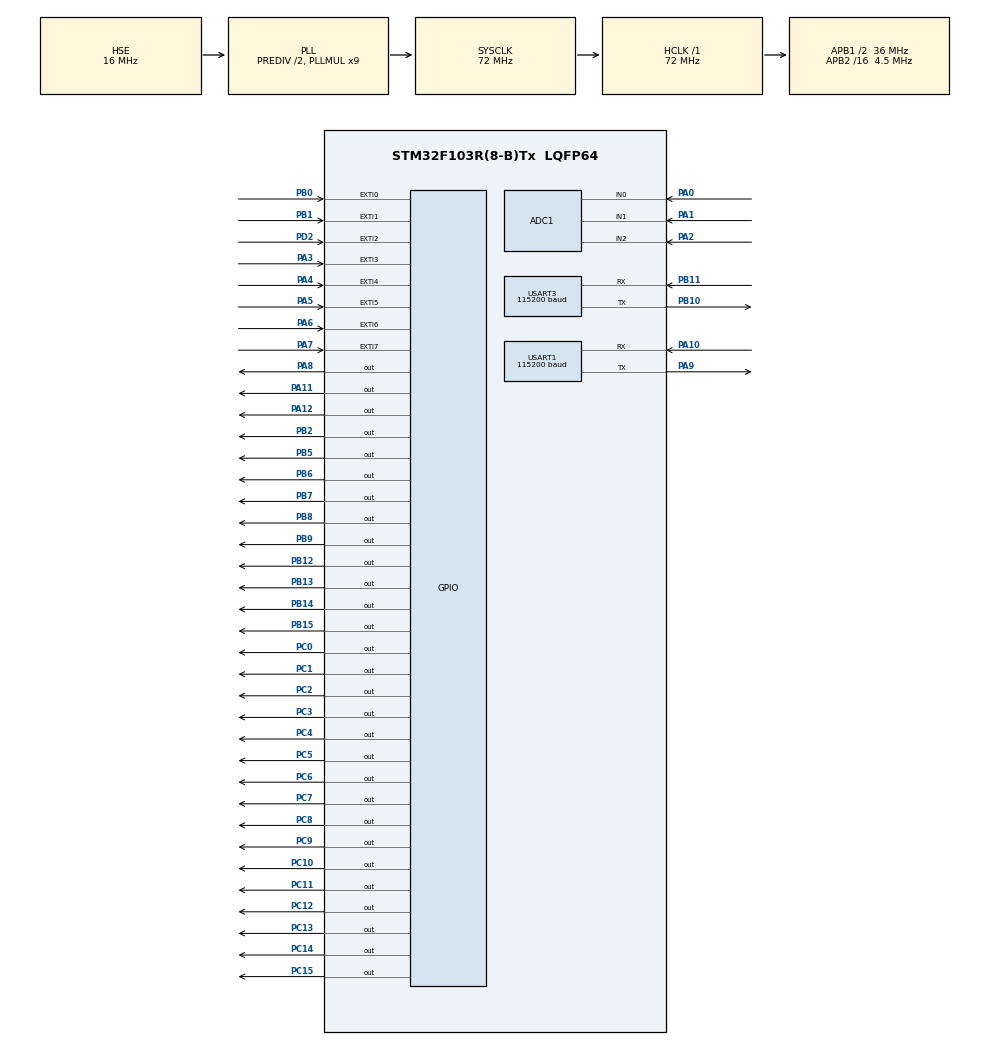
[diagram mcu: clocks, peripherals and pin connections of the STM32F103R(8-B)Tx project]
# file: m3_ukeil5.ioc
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Mcu.Family=STM32F1
NVIC.USART3_IRQn=true\:0\:0\:false\:false\:true\:true\:true
NVIC.ADC1_2_IRQn=true\:0\:0\:false\:false\:true\:true\:true
PB10.Mode=Asynchronous
ADC1.ContinuousConvMode=ENABLE
USART1.BaudRate=115200
SH.ADCx_IN2.0=ADC1_IN2,IN2
PC10.Signal=GPIO_Output
PC12.Signal=GPIO_Output
NVIC.EXTI3_IRQn=true\:0\:0\:false\:false\:true\:true\:true
PB11.Signal=USART3_RX
PB13.Signal=GPIO_Output
PB15.Signal=GPIO_Output
RCC.SYSCLKSource=RCC_SYSCLKSOURCE_PLLCLK
ProjectManager.StackSize=0x400
PD1-OSC_OUT.Signal=RCC_OSC_OUT
NVIC.EXTI1_IRQn=true\:0\:0\:false\:false\:true\:true\:true
PA12.Signal=GPIO_Output
TIM1.Prescaler=36000-1
USART3.BaudRate=115200
RCC.HCLKFreq_Value=72000000
RCC.APB2TimFreq_Value=9000000
TIM3.Period=1000-1
PB1.GPIO_ModeDefaultEXTI=GPIO_MODE_IT_RISING
PB6.Signal=GPIO_Output
PC7.Signal=GPIO_Output
PB5.PinState=GPIO_PIN_SET
PC3.Signal=GPIO_Output
RCC.AHBFreq_Value=72000000
RCC.HSE_VALUE=16000000
PB3.Mode=JTAG_5_pins
PB2.Signal=GPIO_Output
PA15.Mode=JTAG_5_pins
RCC.PLLMUL=RCC_PLL_MUL9
PB0.GPIO_ModeDefaultEXTI=GPIO_MODE_IT_RISING
PB4.Mode=JTAG_5_pins
PA14.Mode=JTAG_5_pins
TIM3.Prescaler=72-1
PB8.PinState=GPIO_PIN_SET
PB7.Signal=GPIO_Output
PA8.Signal=GPIO_Output
SH.ADCx_IN0.0=ADC1_IN0,IN0
ADC1.Channel-15\#ChannelRegularConversion=ADC_CHANNEL_0
VP_TIM1_VS_ClockSourceINT.Mode=Internal
PB7.PinState=GPIO_PIN_SET
ADC1.Rank-15\#ChannelRegularConversion=1
Mcu.Package=LQFP64
PB9.Signal=GPIO_Output
PB1.Signal=GPXTI1
PA6.Signal=GPXTI6
PA10.Signal=USART1_RX
PA15.Signal=SYS_JTDI
RCC.APB2CLKDivider=RCC_HCLK_DIV16
SH.ADCx_IN1.0=ADC1_IN1,IN1
ADC1.SamplingTime-15\#ChannelRegularConversion=ADC_SAMPLETIME_55CYCLES_5
NVIC.EXTI2_IRQn=true\:0\:0\:false\:false\:true\:true\:true
RCC.APB1TimFreq_Value=72000000
PC5.Signal=GPIO_Output
TIM1.Period=800
NVIC.USART1_IRQn=true\:0\:0\:false\:false\:true\:true\:true
PC0.PinState=GPIO_PIN_RESET
VP_TIM3_VS_ClockSourceINT.Mode=Internal
PB4.Signal=SYS_NJTRST
PA3.Signal=GPXTI3
RCC.PLLSourceVirtual=RCC_PLLSOURCE_HSE
NVIC.EXTI4_IRQn=true\:0\:0\:false\:false\:true\:true\:true
PA5.GPIO_ModeDefaultEXTI=GPIO_MODE_IT_RISING
PA6.GPIO_ModeDefaultEXTI=GPIO_MODE_IT_RISING
PD1-OSC_OUT.Mode=HSE-External-Oscillator
PA10.Mode=Asynchronous
ADC1.SamplingTime-16\#ChannelRegularConversion=ADC_SAMPLETIME_55CYCLES_5
PC11.Signal=GPIO_Output
ADC1.Rank-18\#ChannelRegularConversion=3
PA7.GPIO_ModeDefaultEXTI=GPIO_MODE_IT_RISING
PC8.Signal=GPIO_Output
PC2.Signal=GPIO_Output
PC4.Signal=GPIO_Output
PC6.Signal=GPIO_Output
PC13-TAMPER-RTC.Signal=GPIO_Output
PD0-OSC_IN.Signal=RCC_OSC_IN
PC0.Signal=GPIO_Output
RCC.APB1CLKDivider=RCC_HCLK_DIV2
PC14-OSC32_IN.Signal=GPIO_Output
PA0-WKUP.Signal=ADCx_IN0
PA3.GPIO_ModeDefaultEXTI=GPIO_MODE_IT_RISING
RCC.ADCPresc=RCC_ADCPCLK2_DIV8
PA13.Signal=SYS_JTMS-SWDIO
PA9.Mode=Asynchronous
PB11.Mode=Asynchronous
ProjectManager.TargetToolchain=STM32CubeIDE
ADC1.Channel-18\#ChannelRegularConversion=ADC_CHANNEL_0
PA9.Signal=USART1_TX
PA4.GPIO_ModeDefaultEXTI=GPIO_MODE_IT_RISING
RCC.USBFreq_Value=72000000
PC15-OSC32_OUT.Signal=GPIO_Output
PA1.Signal=ADCx_IN1
PD0-OSC_IN.Mode=HSE-External-Oscillator
PB10.Signal=USART3_TX
PB14.Signal=GPIO_Output
PA5.Signal=GPXTI5
board=custom
NVIC.TIM3_IRQn=true\:0\:0\:false\:false\:true\:true\:true
TIM1.TIM_MasterOutputTrigger=TIM_TRGO_UPDATE
RCC.APB2Freq_Value=4500000
ADC1.Channel-16\#ChannelRegularConversion=ADC_CHANNEL_0
ADC1.NbrOfConversion=3
PA13.Mode=JTAG_5_pins
Mcu.Name=STM32F103R(8-B)Tx
PA2.Signal=ADCx_IN2
ADC1.ExternalTrigConv=ADC_EXTERNALTRIGCONV_T1_CC1
NVIC.TIM1_CC_IRQn=true\:0\:0\:false\:false\:true\:true\:true
PB3.Signal=SYS_JTDO-TRACESWO
NVIC.EXTI0_IRQn=true\:0\:0\:false\:false\:true\:true\:true
PA4.Signal=GPXTI4
RCC.SYSCLKFreq_VALUE=72000000
ADC1.Rank-16\#ChannelRegularConversion=2
PB5.Signal=GPIO_Output
ADC1.master=1
USART3.VirtualMode=VM_ASYNC
RCC.HSEDivPLL=RCC_HSE_PREDIV_DIV2
TIM3.TIM_MasterSlaveMode=TIM_MASTERSLAVEMODE_ENABLE
USART1.VirtualMode=VM_ASYNC
PB6.PinState=GPIO_PIN_SET
PB9.PinState=GPIO_PIN_RESET
PA11.Signal=GPIO_Output
NVIC.EXTI9_5_IRQn=true\:0\:0\:false\:false\:true\:true\:true
PA14.Signal=SYS_JTCK-SWCLK
ProjectManager.HeapSize=0x200
NVIC.PriorityGroup=NVIC_PRIORITYGROUP_4
ADC1.NbrOfConversionFlag=1
PB8.Signal=GPIO_Output
PC9.Signal=GPIO_Output
TIM3.TIM_MasterOutputTrigger=TIM_TRGO_UPDATE
PD2.Signal=GPXTI2
RCC.APB1Freq_Value=36000000
PB0.Signal=GPXTI0
ADC1.SamplingTime-18\#ChannelRegularConversion=ADC_SAMPLETIME_55CYCLES_5
PC1.Signal=GPIO_Output
PB12.Signal=GPIO_Output
TIM1.TIM_MasterSlaveMode=TIM_MASTERSLAVEMODE_ENABLE
PA7.Signal=GPXTI7

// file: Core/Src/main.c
/* USER CODE BEGIN Header */
/**
  ******************************************************************************
  * @file           : main.c
  * @brief          : Main program body
  ******************************************************************************
  * @attention
  *
  * <h2><center>&copy; Copyright (c) 2021 STMicroelectronics.
  * All rights reserved.</center></h2>
  *
  * This software component is licensed by ST under BSD 3-Clause license,
  * the "License"; You may not use this file except in compliance with the
  * License. You may obtain a copy of the License at:
  *                        opensource.org/licenses/BSD-3-Clause
  *
  ******************************************************************************
  */
/* USER CODE END Header */

#include "main.h"
/* USER CODE BEGIN Includes */
#include "math.h"
#include "stdio.h"
#include "string.h"
#include "stdlib.h"
#include "stdbool.h"
#include "dwt_stm32_delay.h"
#include "EMG10K.h"
//#include "Flash.h"

/* USER CODE END Includes */

/* USER CODE END PD */

ADC_HandleTypeDef hadc1;

TIM_HandleTypeDef htim1;
TIM_HandleTypeDef htim3;

UART_HandleTypeDef huart1;
UART_HandleTypeDef huart3;

/* USER CODE BEGIN PV */
extern uint8_t rxtemp;

extern uint8_t RUN_ACTIVE_NUM;
extern uint8_t init_run_data[64];

extern bool send_count;
extern bool sendvalue;

extern uint8_t send_cnt;
extern uint8_t data_strem[1004];

extern uint8_t rx_data[256],rx_data_[256],run_data[256], rx_data_tmp[256];
extern uint8_t txbuff[100];
extern uint8_t txbuff_SEND[1024];

extern uint32_t SOL_SELECT;

extern uint32_t filtereadValue, sensorValue;
extern uint32_t msTimer;
extern uint32_t timerCnt;
extern uint32_t Grade_speed;
extern uint32_t interuptCnt, startTime , endTime;

extern uint8_t RearLine [REAR_COUNT];
extern uint8_t Rear_Count;

extern uint8_t RearLine_Prt [REAR_COUNT];
extern uint8_t Rear_Count_Prt;

extern uint8_t GRADE_PACKER_SELECT_DOUBLE;
extern uint8_t PACKER_SOL_SELECT_DOUBLE[MAX_PACKER_SOL];

extern uint8_t G_PACKER_CNT[MAX_GRADE];
extern uint8_t P_SOL_CNT[MAX_PACKER];
extern uint8_t GRADE_PACKER[MAX_PACKER][MAX_PACKER];

/* USER CODE END PV */

void SystemClock_Config(void);
static void MX_GPIO_Init(void);
static void MX_USART3_UART_Init(void);
static void MX_ADC1_Init(void);
static void MX_USART1_UART_Init(void);
static void MX_TIM1_Init(void);
static void MX_TIM3_Init(void);

/* USER CODE BEGIN 0 */
void BUZZER_ON_OFF();
void FLASH_UPDATE(uint8_t select);
void HAL_GPIO_EXTI_Callback(uint16_t GPIO_Pin);

void SOL_RUN_SELECTE(uint8_t selcte1);
void SOL_RUN_(uint8_t selcte1);
void SOL_RUN_OFF();
void SOL_RUN();
void SOL_TEST_RUN();

unsigned int LOADCELL_ZERO(void);
float LOADCELL_SPAN(unsigned int ZERO);
float LOADCELL_WEIGHT(unsigned int ZERO, float SPAN);

/* ------------------Loadcell params--------------*/
extern unsigned int avg;
extern unsigned int avg_real;
extern unsigned int avg_volt;
extern float avg_float;
extern unsigned int time_count;
/* ---------------------END-----------------------*/

/* ------------------------------LoadCell Params--------------------------------  */

/* ---------------------END-----------------------  */

/* USER CODE END 0 */

int main(void)
{
  /* USER CODE BEGIN 1 */
	 uint32_t ReceiveDATA, TX_DATA = 0;//, RX_DATA = 0;
  /* USER CODE END 1 */

  /* MCU Configuration--------------------------------------------------------*/

  /* Reset of all peripherals, Initializes the Flash interface and the Systick. */
  HAL_Init();

  /* Configure the system clock */
  SystemClock_Config();

  /* Initialize all configured peripherals */
  MX_GPIO_Init();
  MX_USART3_UART_Init();
  MX_ADC1_Init();
  MX_USART1_UART_Init();
  MX_TIM1_Init();
  MX_TIM3_Init();

  DWT_Delay_Init();

  /* USER CODE BEGIN 2 */
  HAL_TIM_OC_Start_IT(&htim3,TIM_CHANNEL_1);
  HAL_ADC_Start(&hadc1);
  HAL_NVIC_EnableIRQ(USART1_IRQn);
  __HAL_UART_ENABLE_IT(&huart1,UART_IT_RXNE);

  for(int jcnt=0;jcnt<40;jcnt++)
  	{
  				if((jcnt%2)==0)
  				{
  					 HAL_GPIO_WritePin(GPIOB, GPIO_PIN_5, GPIO_PIN_RESET); HAL_Delay(50);
  					 HAL_GPIO_WritePin(GPIOB, GPIO_PIN_6, GPIO_PIN_RESET); HAL_Delay(50);
  					 HAL_GPIO_WritePin(GPIOB, GPIO_PIN_7, GPIO_PIN_RESET); HAL_Delay(50);
  				}
  				else
  				{
  					 HAL_GPIO_WritePin(GPIOB, GPIO_PIN_5, GPIO_PIN_SET); HAL_Delay(50);
  					 HAL_GPIO_WritePin(GPIOB, GPIO_PIN_6, GPIO_PIN_SET); HAL_Delay(50);
  					 HAL_GPIO_WritePin(GPIOB, GPIO_PIN_7, GPIO_PIN_SET); HAL_Delay(50);
  				}
  	}
  	BUZZER_ON_OFF();
  	BUZZER_ON_OFF();

	memcpy(&GRADE_INFO ,GRADE_INFO_START  ,sizeof(GRADE_INFO));
	memcpy(&PACKER_INFO ,PACKER_INFO_START  ,sizeof(PACKER_INFO));
	memcpy(&MARKING_INFO  ,MARKING_INFO_START  ,sizeof(MARKING_INFO));
	memcpy(&SOL_RUN_TIME_INFO  ,SOL_RUN_TIME_INFO_START  ,sizeof(SOL_RUN_TIME_INFO));
	memcpy(&MEASUREMENT_INFO ,MEASUREMENT_INFO_START ,sizeof(MEASUREMENT_INFO));
	memcpy(&LOADCELL_INFO  ,LOADCELL_INFO_START   ,sizeof(LOADCELL_INFO));

	HAL_GPIO_WritePin(GPIOB, GPIO_PIN_5, GPIO_PIN_RESET);

	uint8_t k;
	k = 0;

	for(int i = 0; i < MAX_GRADE-1;i++)
	{
		P_SOL_CNT[i]=PACKER_INFO[i].SOL_COUNT;
		for(int j = 0; j < MAX_PACKER; j++ )
		{
			if(GRADE_INFO[i].PACKER_NUMBER[j]==1)
			{
				GRADE_PACKER[i][k++] = j;
			}
		}
		for(int j = 0; j < MAX_PACKER - GRADE_INFO[i].PACKER_COUNT; j++ )
		{
				GRADE_PACKER[i][k++] = 0;
		}
		k=0;
	}

	if (HAL_GPIO_ReadPin(GPIOA, GPIO_PIN_7) == 1)  //AUTO 모드로 수정
	{
		RUN_ACTIVE_NUM = RUN_ACTIVE;
		HAL_GPIO_WritePin(GPIOB, GPIO_PIN_6, GPIO_PIN_RESET);
	}
	 //uint8_t size = 0;

	 uint32_t tmp;

	 RUN_ACTIVE_NUM = RUN_ACTIVE;
  /* USER CODE END 2 */

  /* Infinite loop */
  while (1)
  {
		/*---------------MODE SECTION------------------------*/
	 	switch (run_data[0])
		{
/*---------------READ SECTION START--------------------------*/
			case READ :
				switch (run_data[1])
				{
					case GRADE_INFO_:	 /* GRADE_INFO_ VALUE SEND*/
						RUN_ACTIVE_NUM = GRADE_INFO_;
						txbuff_SEND[STX_NUM] = STX;
						TX_DATA = LEN_NUM;
					  TX_DATA++;
						for(int j = 0; j < MAX_GRADE; j++)
						{
							txbuff_SEND[TX_DATA++] = (uint8_t)(*((uint32_t*)&GRADE_INFO[j].HILIMIT ) >> 24);
							txbuff_SEND[TX_DATA++] = (uint8_t)(*((uint32_t*)&GRADE_INFO[j].HILIMIT ) >> 16);
							txbuff_SEND[TX_DATA++] = (uint8_t)(*((uint32_t*)&GRADE_INFO[j].HILIMIT ) >> 8);
							txbuff_SEND[TX_DATA++] = (uint8_t)(*((uint32_t*)&GRADE_INFO[j].HILIMIT ));

							txbuff_SEND[TX_DATA++] = (uint8_t)(*((uint32_t*)&GRADE_INFO[j].LOLIMIT ) >> 24);
							txbuff_SEND[TX_DATA++] = (uint8_t)(*((uint32_t*)&GRADE_INFO[j].LOLIMIT ) >> 16);
							txbuff_SEND[TX_DATA++] = (uint8_t)(*((uint32_t*)&GRADE_INFO[j].LOLIMIT ) >> 8);
							txbuff_SEND[TX_DATA++] = (uint8_t)(*((uint32_t*)&GRADE_INFO[j].LOLIMIT ));

						    txbuff_SEND[TX_DATA++] = (uint8_t)(*((uint32_t*)&GRADE_INFO[j].PRT_COUNT ) >> 24);
							txbuff_SEND[TX_DATA++] = (uint8_t)(*((uint32_t*)&GRADE_INFO[j].PRT_COUNT ) >> 16);
							txbuff_SEND[TX_DATA++] = (uint8_t)(*((uint32_t*)&GRADE_INFO[j].PRT_COUNT ) >> 8);
							txbuff_SEND[TX_DATA++] = (uint8_t)(*((uint32_t*)&GRADE_INFO[j].PRT_COUNT ));
							txbuff_SEND[TX_DATA++] = GRADE_INFO[j].PRT_USED;

							txbuff_SEND[TX_DATA++] = GRADE_INFO[j].PACKER_COUNT;
							for(int k = 0; k < MAX_PACKER; k++)
							{
								txbuff_SEND[TX_DATA++] = GRADE_INFO[j].PACKER_NUMBER[k];
							}

						}
						for(int k = 0; k < MAX_PACKER; k++)
						{
								txbuff_SEND[TX_DATA++] = PACKER_INFO[k].SOL_COUNT;
						}

						txbuff_SEND[LEN_NUM] = TX_DATA-2;
						txbuff_SEND[TX_DATA++] = ETX;
						HAL_UART_Transmit(&huart1,txbuff_SEND,TX_DATA,50);
						BUZZER_ON_OFF();
						memcpy(run_data,init_run_data,sizeof(init_run_data));
						break;

					case PACKER_INFO_:	   /* PACKER_INFO_ VALUE SEND*/
						RUN_ACTIVE_NUM = PACKER_INFO_;
						txbuff_SEND[STX_NUM] = STX;
						TX_DATA = LEN_NUM;
					  TX_DATA++;
						for(int j = 0; j < MAX_PACKER; j++)
						{
								txbuff_SEND[TX_DATA++] = PACKER_INFO[j].SOL_COUNT;
								for(int k = 0; k < MAX_PACKER_SOL; k++)
								{
									txbuff_SEND[TX_DATA++]=PACKER_INFO[j].SOL_NUMBER[k];
								}
								for(int k = 0; k < MAX_PACKER_SOL; k++)
								{
									txbuff_SEND[TX_DATA++]=PACKER_INFO[j].SOL_CONNECT[k];
								}
						}
						txbuff_SEND[TX_DATA++]=MARKING_INFO.MARKING_1_BURKET_NUM;
						txbuff_SEND[TX_DATA++]=MARKING_INFO.MARKING_1_CONNECT;
						txbuff_SEND[TX_DATA++]=MARKING_INFO.MARKING_2_BURKET_NUM;
						txbuff_SEND[TX_DATA++]=MARKING_INFO.MARKING_2_CONNECT;
						txbuff_SEND[TX_DATA++]=SOL_RUN_TIME_INFO.SOL_ON_TIME_;
						txbuff_SEND[TX_DATA++]=SOL_RUN_TIME_INFO.SOL_OFF_TIME_;

						txbuff_SEND[LEN_NUM] = TX_DATA-2;
						txbuff_SEND[TX_DATA++] = ETX;

						HAL_UART_Transmit(&huart1,txbuff_SEND,TX_DATA,50);
						BUZZER_ON_OFF();
						memcpy(run_data,init_run_data,sizeof(init_run_data));
						break;

					case MEASUREMENT_INFO_:	 /* MEASUREMENT_INFO_ VALUE SEND*/
						RUN_ACTIVE_NUM = MEASUREMENT_INFO_;
						txbuff_SEND[STX_NUM] = STX;
						TX_DATA = LEN_NUM;
						TX_DATA++;
					  txbuff_SEND[TX_DATA++] = MEASUREMENT_INFO.START_TIME;
					  txbuff_SEND[TX_DATA++] = MEASUREMENT_INFO.END_TIME;
						txbuff_SEND[LEN_NUM] = TX_DATA-2;
						txbuff_SEND[TX_DATA++] = ETX;
						HAL_UART_Transmit(&huart1,txbuff_SEND,TX_DATA,50);
						BUZZER_ON_OFF();
						memcpy(run_data,init_run_data,sizeof(init_run_data));
						break;

					case LOADCELL_INFO_:	  /* INIT_CONFIG VALUE SEND*/
						RUN_ACTIVE_NUM = LOADCELL_INFO_;
					  avg_float = LOADCELL_WEIGHT(LOADCELL_INFO.OFFSET,LOADCELL_INFO.SPAN);
					  BUZZER_ON_OFF();
						txbuff_SEND[STX_NUM] = STX;
						TX_DATA = LEN_NUM;
					  TX_DATA++;
					    txbuff_SEND[TX_DATA++] = (uint8_t)(*((uint32_t*)&avg_float ) >> 24);
						txbuff_SEND[TX_DATA++] = (uint8_t)(*((uint32_t*)&avg_float ) >> 16);
						txbuff_SEND[TX_DATA++] = (uint8_t)(*((uint32_t*)&avg_float ) >> 8);
						txbuff_SEND[TX_DATA++] = (uint8_t)(*((uint32_t*)&avg_float ));
					    txbuff_SEND[TX_DATA++] = (uint8_t)(*((uint32_t*)&LOADCELL_INFO.OFFSET ) >> 24);
						txbuff_SEND[TX_DATA++] = (uint8_t)(*((uint32_t*)&LOADCELL_INFO.OFFSET ) >> 16);
						txbuff_SEND[TX_DATA++] = (uint8_t)(*((uint32_t*)&LOADCELL_INFO.OFFSET ) >> 8);
						txbuff_SEND[TX_DATA++] = (uint8_t)(*((uint32_t*)&LOADCELL_INFO.OFFSET ));
					    txbuff_SEND[TX_DATA++] = (uint8_t)(*((uint32_t*)&LOADCELL_INFO.SPAN ) >> 24);
						txbuff_SEND[TX_DATA++] = (uint8_t)(*((uint32_t*)&LOADCELL_INFO.SPAN ) >> 16);
						txbuff_SEND[TX_DATA++] = (uint8_t)(*((uint32_t*)&LOADCELL_INFO.SPAN ) >> 8);
						txbuff_SEND[TX_DATA++] = (uint8_t)(*((uint32_t*)&LOADCELL_INFO.SPAN ));
					    txbuff_SEND[TX_DATA++] = (uint8_t)(*((uint32_t*)&LOADCELL_INFO.MOVING_AVRAGE ) >> 24);
						txbuff_SEND[TX_DATA++] = (uint8_t)(*((uint32_t*)&LOADCELL_INFO.MOVING_AVRAGE ) >> 16);
						txbuff_SEND[TX_DATA++] = (uint8_t)(*((uint32_t*)&LOADCELL_INFO.MOVING_AVRAGE ) >> 8);
						txbuff_SEND[TX_DATA++] = (uint8_t)(*((uint32_t*)&LOADCELL_INFO.MOVING_AVRAGE ));
						txbuff_SEND[LEN_NUM] = TX_DATA-2;
						txbuff_SEND[TX_DATA++] = ETX;
						HAL_UART_Transmit(&huart1,txbuff_SEND,TX_DATA,50);
						BUZZER_ON_OFF();
						memcpy(run_data,init_run_data,sizeof(init_run_data));
						break;

					case ALL_INFO_:	  /* INIT_CONFIG VALUE SEND*/
						RUN_ACTIVE_NUM = ALL_INFO_;
						BUZZER_ON_OFF();
						BUZZER_ON_OFF();
						memcpy(run_data,init_run_data,sizeof(init_run_data));
						break;
					case COM_CHK_:	  /* INIT_CONFIG VALUE SEND*/
						RUN_ACTIVE_NUM = ALL_INFO_;
						BUZZER_ON_OFF();
					  txbuff_SEND[STX_NUM] = STX;
						TX_DATA = LEN_NUM;
					  TX_DATA++;
          txbuff_SEND[TX_DATA++] = 51;
						txbuff_SEND[LEN_NUM] = TX_DATA-2;
						txbuff_SEND[TX_DATA++] = ETX;
						HAL_UART_Transmit(&huart1,txbuff_SEND,TX_DATA,50);
						BUZZER_ON_OFF();
						memcpy(run_data,init_run_data,sizeof(init_run_data));
						break;
				}
			break;
/*---------------READ SECTION END--------------------------*/

/*---------------SET START--------------------------*/
			case WRITE : // WRITE
				switch (run_data[1])
				{
					case GRADE_INFO_:
							RUN_ACTIVE_NUM = GRADE_INFO_;
					    BUZZER_ON_OFF();
							ReceiveDATA = 2;

							for (int i = 0; i < MAX_GRADE; i++)
							{
								tmp  =   run_data[ReceiveDATA++];
								tmp +=   ((run_data[ReceiveDATA++]&0xFF)<<8);
								tmp +=   ((run_data[ReceiveDATA++]&0xFF)<<16);
								tmp +=   ((run_data[ReceiveDATA++]&0xFF)<<24);
								GRADE_INFO[i].HILIMIT = *((float*)&tmp);
								GRADE_INFO[i].HILIMIT = ceil(GRADE_INFO[i].HILIMIT*10)/10;

								tmp  =   run_data[ReceiveDATA++];
								tmp +=   ((run_data[ReceiveDATA++]&0xFF)<<8);
								tmp +=   ((run_data[ReceiveDATA++]&0xFF)<<16);
								tmp +=   ((run_data[ReceiveDATA++]&0xFF)<<24);
								GRADE_INFO[i].LOLIMIT = *((float*)&tmp);
							    GRADE_INFO[i].LOLIMIT = ceil(GRADE_INFO[i].LOLIMIT*10)/10;
								GRADE_INFO[i].PRT_COUNT = 0;
              GRADE_INFO[i].PRT_COUNT =    (((uint32_t)run_data[ReceiveDATA++] & 0xFF));
								GRADE_INFO[i].PRT_COUNT +=   (((uint32_t)run_data[ReceiveDATA++] & 0xFF) << 8);
								GRADE_INFO[i].PRT_COUNT +=   (((uint32_t)run_data[ReceiveDATA++] & 0xFF) << 16);
								GRADE_INFO[i].PRT_COUNT +=   (((uint32_t)run_data[ReceiveDATA++] & 0xFF) << 24);
								if(GRADE_INFO[i].PRT_COUNT != 0)
								{
									GRADE_INFO[i].PRT_COUNT = GRADE_INFO[i].PRT_COUNT+2;
								}
								GRADE_INFO[i].PRT_USED = run_data[ReceiveDATA++];

								GRADE_INFO[i].PACKER_COUNT = run_data[ReceiveDATA++];
								for(int j = 0 ; j < MAX_PACKER; j++)
								{
									GRADE_INFO[i].PACKER_NUMBER[j] = run_data[ReceiveDATA++];
								}
							}
							for(int j = 0 ; j < MAX_PACKER; j++)
							{
									PACKER_INFO[j].SOL_COUNT = run_data[ReceiveDATA++];
							}
							FLASH_UPDATE(GRADE_INFO_DATA);
							FLASH_UPDATE(PACKER_INFO_DATA);
							k = 0;
							for(int i = 0; i < MAX_PACKER; i++)
							{
								for(int j = 0; j < MAX_PACKER; j++ )
								{
									if(GRADE_INFO[i].PACKER_NUMBER[j]==1)
									{
										GRADE_PACKER[i][k++] = j;
									}
								}
								for(int j = 0; j < MAX_PACKER - GRADE_INFO[i].PACKER_COUNT; j++ )
								{
										GRADE_PACKER[i][k++] = 0;
								}
								k=0;
							}
							memset(G_PACKER_CNT,0,MAX_PACKER);
							memcpy(run_data,init_run_data,sizeof(init_run_data));
						break;

					case PACKER_INFO_:
							RUN_ACTIVE_NUM = PACKER_INFO_;
							BUZZER_ON_OFF();
							ReceiveDATA = 2;
							for (int i = 0; i <MAX_PACKER; i++)
							{
								PACKER_INFO[i].SOL_COUNT = run_data[ReceiveDATA++];

								for(int j = 0 ; j < MAX_PACKER_SOL; j++)
								{
									PACKER_INFO[i].SOL_NUMBER[j] = run_data[ReceiveDATA++];
								}
								for(int j = 0 ; j < MAX_PACKER_SOL; j++)
								{
									PACKER_INFO[i].SOL_CONNECT[j] = run_data[ReceiveDATA++];
								}
							}
							MARKING_INFO.MARKING_1_BURKET_NUM = run_data[ReceiveDATA++];
							MARKING_INFO.MARKING_1_CONNECT = run_data[ReceiveDATA++];
							MARKING_INFO.MARKING_2_BURKET_NUM = run_data[ReceiveDATA++];
							MARKING_INFO.MARKING_2_CONNECT = run_data[ReceiveDATA++];

							SOL_RUN_TIME_INFO.SOL_ON_TIME_ = run_data[ReceiveDATA++];
							SOL_RUN_TIME_INFO.SOL_OFF_TIME_ = run_data[ReceiveDATA++];

							FLASH_UPDATE(PACKER_INFO_DATA);
							FLASH_UPDATE(MARKING_INFO_DATA);
							FLASH_UPDATE(SOL_RUN_TIME_INFO_DATA);
							for(int i = 0; i < MAX_PACKER; i++)
							{
								P_SOL_CNT[i]=PACKER_INFO[i].SOL_COUNT;
							}
							memcpy(run_data,init_run_data,sizeof(init_run_data));
						break;

					case MEASUREMENT_INFO_: /* LOADCELL_CONFIG VALUE MEMORY SAVE [DELAY TIME/END TIME]*/
							RUN_ACTIVE_NUM = MEASUREMENT_INFO_;
							BUZZER_ON_OFF();
							ReceiveDATA = 2;
							MEASUREMENT_INFO.START_TIME = run_data[ReceiveDATA++];
							MEASUREMENT_INFO.END_TIME =  run_data[ReceiveDATA++];
							FLASH_UPDATE(MEASUREMENT_INFO_DATA);
							BUZZER_ON_OFF();
							memcpy(run_data,init_run_data,sizeof(init_run_data));
						break;

					case INIT_DATA_SET_:   /* INIT_DATA*/
						RUN_ACTIVE_NUM = INIT_DATA_SET_;
							for(int i; i < MAX_GRADE; i++)
							{
									GRADE_DATA.gNumber[i] = 0;
									GRADE_DATA.gWeight[i] = 0;
									GRADE_DATA.pNumber[i] = 0;
							}
							GRADE_DATA.gTNumber = 0;
							GRADE_DATA.gTWeight = 0;
							GRADE_DATA.gPCount = 0;
							GRADE_DATA.gRCount = 0;

							HAL_GPIO_WritePin(GPIOB, GPIO_PIN_9, GPIO_PIN_SET); HAL_Delay(100);
							HAL_GPIO_WritePin(GPIOB, GPIO_PIN_9, GPIO_PIN_RESET); HAL_Delay(100);
							memcpy(run_data,init_run_data,sizeof(init_run_data));
						break;
				}
			break;
/*---------------WRITE SECTION END--------------------------*/

/*---------------RUN ACTIVE SECTION START--------------------------*/
			case ACTIVE :
				switch (run_data[1])
				{
					case RUN_ACTIVE:	/* RUN_ACTIVE START*/
						RUN_ACTIVE_NUM = RUN_ACTIVE;
						BUZZER_ON_OFF();
					  memcpy(run_data,init_run_data,sizeof(init_run_data));
					break;

					case NORUN_ACTIVE:	/* RUN_ACTIVE STOP */
						RUN_ACTIVE_NUM = NORUN_ACTIVE;
						BUZZER_ON_OFF();
					  memcpy(run_data,init_run_data,sizeof(init_run_data));
					break;
				}
			break;
/*---------------RUN ACTIVE SECTION END--------------------------*/

/*---------------MEASUREMENT SECTION START--------------------------*/
			case MEASUREMENT :
				switch (run_data[1])
				{
					case LOADCELL_INFO_ZERO_: 	/* LOADCELL_ZERO_MEASUREMENT START*/
						RUN_ACTIVE_NUM = LOADCELL_INFO_ZERO_;
						for(int i =0; i<5;i++)
						{
							LOADCELL_INFO.OFFSET=LOADCELL_ZERO();
						}
						BUZZER_ON_OFF();
						txbuff[0] = 0x02;
						txbuff[1] = sizeof(LOADCELL_INFO.OFFSET);
						txbuff[2] = (uint8_t)(*((uint32_t*)&LOADCELL_INFO.OFFSET ) >> 24);
						txbuff[3] = (uint8_t)(*((uint32_t*)&LOADCELL_INFO.OFFSET ) >> 16);
						txbuff[4] = (uint8_t)(*((uint32_t*)&LOADCELL_INFO.OFFSET ) >> 8);
						txbuff[5] = (uint8_t)(*((uint32_t*)&LOADCELL_INFO.OFFSET ));
						txbuff[6] = 0x03;
						FLASH_UPDATE(LOADCELL_INFO_DATA);
						HAL_UART_Transmit(&huart1,txbuff,3+sizeof(LOADCELL_INFO.OFFSET),10);
						memcpy(run_data,init_run_data,sizeof(init_run_data));

						break;
					case LOADCELL_INFO_WEIGHT_: 	/* LOADCELL_WEIGHT_MEASUREMENT START */
						RUN_ACTIVE_NUM = LOADCELL_INFO_WEIGHT_;
					  for(int i =0; i<5;i++)
					  {
							LOADCELL_INFO.SPAN = LOADCELL_SPAN(LOADCELL_INFO.OFFSET);
						}
						BUZZER_ON_OFF();
						txbuff[0] = 0x02;
						txbuff[1] =  sizeof(LOADCELL_INFO.SPAN);
						txbuff[2] = (uint8_t)(*((uint32_t*)&LOADCELL_INFO.SPAN ) >> 24);
						txbuff[3] = (uint8_t)(*((uint32_t*)&LOADCELL_INFO.SPAN ) >> 16);
						txbuff[4] = (uint8_t)(*((uint32_t*)&LOADCELL_INFO.SPAN ) >> 8);
						txbuff[5] = (uint8_t)(*((uint32_t*)&LOADCELL_INFO.SPAN ));
						txbuff[6] = 0x03;
						HAL_UART_Transmit(&huart1,txbuff,3+sizeof(LOADCELL_INFO.SPAN),10);
						FLASH_UPDATE(LOADCELL_INFO_DATA);
						memcpy(run_data,init_run_data,sizeof(init_run_data));
						break;

					case MEASURE_RUN_:	/* LOADCELL_WEIGHT_MEASUREMENT START */
						RUN_ACTIVE_NUM = MEASURE_RUN_;
					    send_count = true;
					    sendvalue = false;
					    send_cnt =0;
						BUZZER_ON_OFF();
					    memset (data_strem, 0, sizeof(data_strem));
						memcpy(run_data,init_run_data,sizeof(init_run_data));
						break;

					case SOL_TEST_:	/* SOL_TEST START */
						RUN_ACTIVE_NUM = SOL_TEST_;
					  SOL_SELECT =run_data[2];
					  if (SOL_SELECT < 40)
						{
							SOL_RUN_(SOL_SELECT);
							memcpy(run_data,init_run_data,sizeof(init_run_data));
							SOL_SELECT = 0;
						}
						else if (SOL_SELECT == 41)
						{
							SOL_TEST_RUN();
						}
						else if (SOL_SELECT == 42)
						{
							memcpy(run_data,init_run_data,sizeof(init_run_data));
							SOL_SELECT = 0;
						}
						BUZZER_ON_OFF();
						break;
				}
/*---------------MEASUREMENT SECTION END--------------------------*/
				break;
/*----------------------MODE SECTION END--------------------------*/
			}
  }
}

void SystemClock_Config(void)
{
  RCC_OscInitTypeDef RCC_OscInitStruct = {0};
  RCC_ClkInitTypeDef RCC_ClkInitStruct = {0};
  RCC_PeriphCLKInitTypeDef PeriphClkInit = {0};

  /** Initializes the CPU, AHB and APB busses clocks
  */
  RCC_OscInitStruct.OscillatorType = RCC_OSCILLATORTYPE_HSE;
  RCC_OscInitStruct.HSEState = RCC_HSE_ON;
  RCC_OscInitStruct.HSEPredivValue = RCC_HSE_PREDIV_DIV2;
  RCC_OscInitStruct.HSIState = RCC_HSI_ON;
  RCC_OscInitStruct.PLL.PLLState = RCC_PLL_ON;
  RCC_OscInitStruct.PLL.PLLSource = RCC_PLLSOURCE_HSE;
  RCC_OscInitStruct.PLL.PLLMUL = RCC_PLL_MUL9;
  if (HAL_RCC_OscConfig(&RCC_OscInitStruct) != HAL_OK)
  {
    Error_Handler();
  }
  /** Initializes the CPU, AHB and APB busses clocks
  */
  RCC_ClkInitStruct.ClockType = RCC_CLOCKTYPE_HCLK|RCC_CLOCKTYPE_SYSCLK
                              |RCC_CLOCKTYPE_PCLK1|RCC_CLOCKTYPE_PCLK2;
  RCC_ClkInitStruct.SYSCLKSource = RCC_SYSCLKSOURCE_PLLCLK;
  RCC_ClkInitStruct.AHBCLKDivider = RCC_SYSCLK_DIV1;
  RCC_ClkInitStruct.APB1CLKDivider = RCC_HCLK_DIV2;
  RCC_ClkInitStruct.APB2CLKDivider = RCC_HCLK_DIV16;

  if (HAL_RCC_ClockConfig(&RCC_ClkInitStruct, FLASH_LATENCY_2) != HAL_OK)
  {
    Error_Handler();
  }
  PeriphClkInit.PeriphClockSelection = RCC_PERIPHCLK_ADC;
  PeriphClkInit.AdcClockSelection = RCC_ADCPCLK2_DIV8;
  if (HAL_RCCEx_PeriphCLKConfig(&PeriphClkInit) != HAL_OK)
  {
    Error_Handler();
  }
}

static void MX_ADC1_Init(void)
{

  ADC_ChannelConfTypeDef sConfig = {0};

  /** Common config
  */
  hadc1.Instance = ADC1;
  hadc1.Init.ScanConvMode = ADC_SCAN_ENABLE;
  hadc1.Init.ContinuousConvMode = ENABLE;
  hadc1.Init.DiscontinuousConvMode = DISABLE;
  //hadc1.Init.ExternalTrigConv = ADC_EXTERNALTRIGCONV_T1_CC1;
  hadc1.Init.ExternalTrigConv = ADC1_2_EXTERNALTRIG_T3_TRGO;
  hadc1.Init.DataAlign = ADC_DATAALIGN_RIGHT;
  hadc1.Init.NbrOfConversion = 3;
  if (HAL_ADC_Init(&hadc1) != HAL_OK)
  {
    Error_Handler();
  }
  /** Configure Regular Channel
  */
  sConfig.Channel = ADC_CHANNEL_0;
  sConfig.Rank = ADC_REGULAR_RANK_1;
  sConfig.SamplingTime = ADC_SAMPLETIME_55CYCLES_5;
  if (HAL_ADC_ConfigChannel(&hadc1, &sConfig) != HAL_OK)
  {
    Error_Handler();
  }
  /** Configure Regular Channel
  */
  sConfig.Rank = ADC_REGULAR_RANK_2;
  if (HAL_ADC_ConfigChannel(&hadc1, &sConfig) != HAL_OK)
  {
    Error_Handler();
  }
  /** Configure Regular Channel
  */
  sConfig.Rank = ADC_REGULAR_RANK_3;
  if (HAL_ADC_ConfigChannel(&hadc1, &sConfig) != HAL_OK)
  {
    Error_Handler();
  }

}

static void MX_TIM1_Init(void)
{

  TIM_ClockConfigTypeDef sClockSourceConfig = {0};
  TIM_MasterConfigTypeDef sMasterConfig = {0};

  htim1.Instance = TIM1;
  htim1.Init.Prescaler = 36000-1;
  htim1.Init.CounterMode = TIM_COUNTERMODE_UP;
  htim1.Init.Period = 100;
  htim1.Init.ClockDivision = TIM_CLOCKDIVISION_DIV1;
  htim1.Init.RepetitionCounter = 0;
  htim1.Init.AutoReloadPreload = TIM_AUTORELOAD_PRELOAD_DISABLE;
  if (HAL_TIM_Base_Init(&htim1) != HAL_OK)
  {
    Error_Handler();
  }
  sClockSourceConfig.ClockSource = TIM_CLOCKSOURCE_INTERNAL;
  if (HAL_TIM_ConfigClockSource(&htim1, &sClockSourceConfig) != HAL_OK)
  {
    Error_Handler();
  }
  sMasterConfig.MasterOutputTrigger = TIM_TRGO_UPDATE;
  sMasterConfig.MasterSlaveMode = TIM_MASTERSLAVEMODE_ENABLE;
  if (HAL_TIMEx_MasterConfigSynchronization(&htim1, &sMasterConfig) != HAL_OK)
  {
    Error_Handler();
  }

}

static void MX_TIM3_Init(void)
{

  TIM_ClockConfigTypeDef sClockSourceConfig = {0};
  TIM_MasterConfigTypeDef sMasterConfig = {0};

  htim3.Instance = TIM3;
  htim3.Init.Prescaler = 72-1;
  htim3.Init.CounterMode = TIM_COUNTERMODE_UP;
  htim3.Init.Period = 100-1;
  htim3.Init.ClockDivision = TIM_CLOCKDIVISION_DIV1;
  htim3.Init.AutoReloadPreload = TIM_AUTORELOAD_PRELOAD_DISABLE;
  if (HAL_TIM_Base_Init(&htim3) != HAL_OK)
  {
    Error_Handler();
  }
  sClockSourceConfig.ClockSource = TIM_CLOCKSOURCE_INTERNAL;
  if (HAL_TIM_ConfigClockSource(&htim3, &sClockSourceConfig) != HAL_OK)
  {
    Error_Handler();
  }
  sMasterConfig.MasterOutputTrigger = TIM_TRGO_UPDATE;
  sMasterConfig.MasterSlaveMode = TIM_MASTERSLAVEMODE_ENABLE;
  if (HAL_TIMEx_MasterConfigSynchronization(&htim3, &sMasterConfig) != HAL_OK)
  {
    Error_Handler();
  }

}

static void MX_USART1_UART_Init(void)
{

  huart1.Instance = USART1;
  huart1.Init.BaudRate = 115200;
  huart1.Init.WordLength = UART_WORDLENGTH_8B;
  huart1.Init.StopBits = UART_STOPBITS_1;
  huart1.Init.Parity = UART_PARITY_NONE;
  huart1.Init.Mode = UART_MODE_TX_RX;
  huart1.Init.HwFlowCtl = UART_HWCONTROL_NONE;
  huart1.Init.OverSampling = UART_OVERSAMPLING_16;
  if (HAL_UART_Init(&huart1) != HAL_OK)
  {
    Error_Handler();
  }

}

static void MX_USART3_UART_Init(void)
{

  huart3.Instance = USART3;
  huart3.Init.BaudRate = 115200;
  huart3.Init.WordLength = UART_WORDLENGTH_8B;
  huart3.Init.StopBits = UART_STOPBITS_1;
  huart3.Init.Parity = UART_PARITY_NONE;
  huart3.Init.Mode = UART_MODE_TX_RX;
  huart3.Init.HwFlowCtl = UART_HWCONTROL_NONE;
  huart3.Init.OverSampling = UART_OVERSAMPLING_16;
  if (HAL_UART_Init(&huart3) != HAL_OK)
  {
    Error_Handler();
  }

}

static void MX_GPIO_Init(void)
{
  GPIO_InitTypeDef GPIO_InitStruct = {0};

  /* GPIO Ports Clock Enable */
  __HAL_RCC_GPIOC_CLK_ENABLE();
  __HAL_RCC_GPIOD_CLK_ENABLE();
  __HAL_RCC_GPIOA_CLK_ENABLE();
  __HAL_RCC_GPIOB_CLK_ENABLE();

  /*Configure GPIO pin Output Level */
   HAL_GPIO_WritePin(GPIOC, GPIO_PIN_13|GPIO_PIN_14|GPIO_PIN_15|GPIO_PIN_0
                           |GPIO_PIN_1|GPIO_PIN_2|GPIO_PIN_3|GPIO_PIN_4
                           |GPIO_PIN_5|GPIO_PIN_6|GPIO_PIN_7|GPIO_PIN_8
                           |GPIO_PIN_9|GPIO_PIN_10|GPIO_PIN_11|GPIO_PIN_12, GPIO_PIN_RESET);

   /*Configure GPIO pin Output Level */
   HAL_GPIO_WritePin(GPIOB, GPIO_PIN_2|GPIO_PIN_12|GPIO_PIN_13|GPIO_PIN_14
                           |GPIO_PIN_15|GPIO_PIN_9, GPIO_PIN_RESET);

   /*Configure GPIO pin Output Level */
   HAL_GPIO_WritePin(GPIOA, GPIO_PIN_8|GPIO_PIN_11|GPIO_PIN_12, GPIO_PIN_RESET);

   /*Configure GPIO pin Output Level */
   HAL_GPIO_WritePin(GPIOB, GPIO_PIN_5|GPIO_PIN_6|GPIO_PIN_7|GPIO_PIN_8, GPIO_PIN_RESET);

   /*Configure GPIO pins : PC13 PC14 PC15 PC0
                            PC1 PC2 PC3 PC4
                            PC5 PC6 PC7 PC8
                            PC9 PC10 PC11 PC12 */
   GPIO_InitStruct.Pin = GPIO_PIN_13|GPIO_PIN_14|GPIO_PIN_15|GPIO_PIN_0
                           |GPIO_PIN_1|GPIO_PIN_2|GPIO_PIN_3|GPIO_PIN_4
                           |GPIO_PIN_5|GPIO_PIN_6|GPIO_PIN_7|GPIO_PIN_8
                           |GPIO_PIN_9|GPIO_PIN_10|GPIO_PIN_11|GPIO_PIN_12;
   GPIO_InitStruct.Mode = GPIO_MODE_OUTPUT_PP;
   GPIO_InitStruct.Pull = GPIO_PULLUP;
   GPIO_InitStruct.Speed = GPIO_SPEED_FREQ_HIGH;
   HAL_GPIO_Init(GPIOC, &GPIO_InitStruct);

   /*Configure GPIO pins : PA3 PA4 PA5 PA6
                            PA7 */
   GPIO_InitStruct.Pin = GPIO_PIN_3|GPIO_PIN_4|GPIO_PIN_5|GPIO_PIN_6;
   GPIO_InitStruct.Mode = GPIO_MODE_IT_FALLING;
   GPIO_InitStruct.Pull = GPIO_NOPULL;
   HAL_GPIO_Init(GPIOA, &GPIO_InitStruct);

 	GPIO_InitStruct.Pin =  GPIO_PIN_7;
   GPIO_InitStruct.Mode = GPIO_MODE_INPUT;
   GPIO_InitStruct.Pull = GPIO_PULLUP;
   HAL_GPIO_Init(GPIOA, &GPIO_InitStruct);

   /*Configure GPIO pins : PB0 PB1 */
   GPIO_InitStruct.Pin = GPIO_PIN_0|GPIO_PIN_1;
   GPIO_InitStruct.Mode = GPIO_MODE_IT_FALLING;
   GPIO_InitStruct.Pull = GPIO_NOPULL;
   HAL_GPIO_Init(GPIOB, &GPIO_InitStruct);

   /*Configure GPIO pins : PB2 PB12 PB13 PB14
                            PB15 PB5 PB6 PB7
                            PB8 PB9 */
   GPIO_InitStruct.Pin = GPIO_PIN_2|GPIO_PIN_12|GPIO_PIN_13|GPIO_PIN_14
                           |GPIO_PIN_15|GPIO_PIN_5|GPIO_PIN_6|GPIO_PIN_7
                           |GPIO_PIN_8|GPIO_PIN_9;
   GPIO_InitStruct.Mode = GPIO_MODE_OUTPUT_PP;
   GPIO_InitStruct.Pull = GPIO_PULLUP;
   GPIO_InitStruct.Speed = GPIO_SPEED_FREQ_HIGH;
   HAL_GPIO_Init(GPIOB, &GPIO_InitStruct);

   /*Configure GPIO pins : PA8 PA11 PA12 */
   GPIO_InitStruct.Pin = GPIO_PIN_8|GPIO_PIN_11|GPIO_PIN_12;
   GPIO_InitStruct.Mode = GPIO_MODE_OUTPUT_PP;
   GPIO_InitStruct.Pull = GPIO_PULLUP;
   GPIO_InitStruct.Speed = GPIO_SPEED_FREQ_HIGH;
   HAL_GPIO_Init(GPIOA, &GPIO_InitStruct);

   /*Configure GPIO pin : PD2 */
   GPIO_InitStruct.Pin = GPIO_PIN_2;
   GPIO_InitStruct.Mode = GPIO_MODE_IT_FALLING;
   GPIO_InitStruct.Pull = GPIO_NOPULL;
   HAL_GPIO_Init(GPIOD, &GPIO_InitStruct);

   /* EXTI interrupt init*/
   HAL_NVIC_SetPriority(EXTI0_IRQn, 4, 0);
   HAL_NVIC_EnableIRQ(EXTI0_IRQn);

   HAL_NVIC_SetPriority(EXTI1_IRQn, 4, 0);
   HAL_NVIC_EnableIRQ(EXTI1_IRQn);

   HAL_NVIC_SetPriority(EXTI2_IRQn, 4, 0);
   HAL_NVIC_EnableIRQ(EXTI2_IRQn);

   HAL_NVIC_SetPriority(EXTI3_IRQn, 4, 0);
   HAL_NVIC_EnableIRQ(EXTI3_IRQn);

   HAL_NVIC_SetPriority(EXTI4_IRQn, 4, 0);
   HAL_NVIC_EnableIRQ(EXTI4_IRQn);

 //  HAL_NVIC_SetPriority(EXTI9_5_IRQn, 4, 0);
 //  HAL_NVIC_EnableIRQ(EXTI9_5_IRQn);

}

void Error_Handler(void)
{
}

/************************ (C) COPYRIGHT STMicroelectronics *****END OF FILE****/
